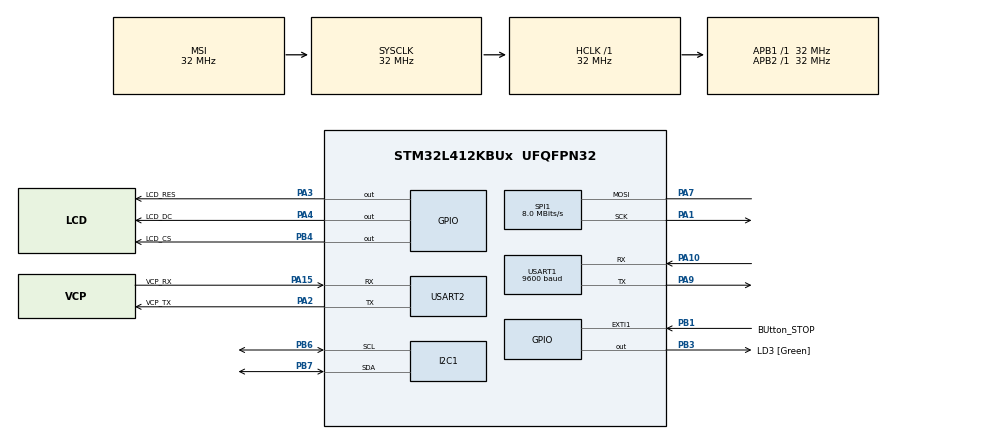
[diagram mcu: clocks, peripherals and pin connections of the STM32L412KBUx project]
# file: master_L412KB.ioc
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I2C1.Timing=0x00B07CB4
Mcu.Family=STM32L4
Mcu.Name=STM32L412KBUx
Mcu.Package=UFQFPN32
NVIC.EXTI1_IRQn=true\:0\:0\:false\:false\:true\:true\:true\:true
NVIC.I2C1_ER_IRQn=true\:1\:0\:true\:false\:true\:true\:true\:true
NVIC.I2C1_EV_IRQn=true\:1\:0\:true\:false\:true\:true\:true\:true
NVIC.PriorityGroup=NVIC_PRIORITYGROUP_4
NVIC.TIM2_IRQn=true\:2\:0\:true\:false\:true\:true\:true\:true
NVIC.USART1_IRQn=true\:3\:0\:true\:false\:true\:true\:true\:true
PA1.Mode=Simplex_Bidirectional_Master
PA1.Signal=SPI1_SCK
PA10.Mode=Asynchronous
PA10.Signal=USART1_RX
PA13\ (JTMS/SWDIO).GPIO_Label=SWDIO
PA13\ (JTMS/SWDIO).Mode=Serial_Wire
PA13\ (JTMS/SWDIO).Signal=SYS_JTMS-SWDIO
PA14\ (JTCK/SWCLK).GPIO_Label=SWCLK
PA14\ (JTCK/SWCLK).Mode=Serial_Wire
PA14\ (JTCK/SWCLK).Signal=SYS_JTCK-SWCLK
PA15\ (JTDI).GPIO_Label=VCP_RX
PA15\ (JTDI).Mode=Asynchronous
PA15\ (JTDI).Signal=USART2_RX
PA2.GPIO_Label=VCP_TX
PA2.Mode=Asynchronous
PA2.Signal=USART2_TX
PA3.GPIO_Label=LCD_RES
PA3.Signal=GPIO_Output
PA4.GPIO_Label=LCD_DC
PA4.Signal=GPIO_Output
PA7.Mode=Simplex_Bidirectional_Master
PA7.Signal=SPI1_MOSI
PA9.Mode=Asynchronous
PA9.Signal=USART1_TX
PB1.GPIO_Label=BUtton_STOP
PB1.GPIO_ModeDefaultEXTI=GPIO_MODE_IT_FALLING
PB1.Signal=GPXTI1
PB3\ (JTDO/TRACESWO).GPIO_Label=LD3 [Green]
PB3\ (JTDO/TRACESWO).Signal=GPIO_Output
PB4\ (NJTRST).GPIO_Label=LCD_CS
PB4\ (NJTRST).Signal=GPIO_Output
PB6.Mode=I2C
PB6.Signal=I2C1_SCL
PB7.Mode=I2C
PB7.Signal=I2C1_SDA
PC14-OSC32_IN\ (PC14).Signal=RCC_OSC32_IN
PC15-OSC32_OUT\ (PC15).Signal=RCC_OSC32_OUT
ProjectManager.HeapSize=0x200
ProjectManager.StackSize=0x400
ProjectManager.TargetToolchain=STM32CubeIDE
RCC.ADCFreq_Value=32000000
RCC.AHBFreq_Value=32000000
RCC.APB1Freq_Value=32000000
RCC.APB1TimFreq_Value=32000000
RCC.APB2Freq_Value=32000000
RCC.APB2TimFreq_Value=32000000
RCC.CortexFreq_Value=32000000
RCC.FLatency=FLASH_LATENCY_1
RCC.HCLKFreq_Value=32000000
RCC.HSE_VALUE=8000000
RCC.HSI48_VALUE=48000000
RCC.HSICalibrationValue=64
RCC.HSI_VALUE=16000000
RCC.LSE_VALUE=32768
RCC.MSIClockRange=RCC_MSIRANGE_10
RCC.MSI_VALUE=32000000
RCC.SYSCLKFreq_VALUE=32000000
RCC.USBFreq_Value=32000000
RCC.VCOOutputFreq_Value=256000000
SPI1.BaudRatePrescaler=SPI_BAUDRATEPRESCALER_4
SPI1.CalculateBaudRate=8.0 MBits/s
SPI1.DataSize=SPI_DATASIZE_8BIT
SPI1.Direction=SPI_DIRECTION_1LINE
SPI1.Mode=SPI_MODE_MASTER
SPI1.VirtualType=VM_MASTER
TIM2.Period=200-1
TIM2.Prescaler=3200-1
USART1.BaudRate=9600
USART1.VirtualMode-Asynchronous=VM_ASYNC
USART2.VirtualMode-Asynchronous=VM_ASYNC
VP_TIM2_VS_ClockSourceINT.Mode=Internal
board=NUCLEO-L412KB

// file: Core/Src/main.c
/* USER CODE BEGIN Header */
/**
 ******************************************************************************
 * @file           : main.c
 * @brief          : Main program body
 ******************************************************************************
 * @attention
 *
 * Copyright (c) 2025 STMicroelectronics.
 * All rights reserved.
 *
 * This software is licensed under terms that can be found in the LICENSE file
 * in the root directory of this software component.
 * If no LICENSE file comes with this software, it is provided AS-IS.
 *
 ******************************************************************************
 */
/* USER CODE END Header */
#include "main.h"

/* USER CODE BEGIN Includes */
#include <math.h>
#include <stdio.h>
#include <stdlib.h>
#include "lcd.h"

/* USER CODE END Includes */

I2C_HandleTypeDef hi2c1;

SPI_HandleTypeDef hspi1;

TIM_HandleTypeDef htim2;

UART_HandleTypeDef huart1;
UART_HandleTypeDef huart2;

/* USER CODE BEGIN PV */
// MPU-6050 I2C 주소
#define MPU6050_ADDR 0xD0 // 0x68 << 1

// MPU-6050 내부 레지스터 주소
#define PWR_MGMT_1_REG 0x6B
#define ACCEL_XOUT_H_REG 0x3B

// I2C 핸들러
extern I2C_HandleTypeDef hi2c1;

// 센서 raw 데이터 저장 변수
int16_t Accel_X_RAW, Accel_Y_RAW, Accel_Z_RAW;
int16_t Gyro_X_RAW, Gyro_Y_RAW, Gyro_Z_RAW;

// 계산된 각도 저장 변수
float Ax, Ay, Az, Gx, Gy, Gz;
float roll, pitch;
float result_roll, result_pitch;

// 시간 측정 변수
uint32_t last_time;
float dt = 0.0;

uint8_t Rec_Data[14]; // 레지스터에서 데이터 저장 (IMU)

volatile uint8_t i2c_flag;

//메세지 받기
#define PACKET_SIZE 6
// 파서의 상태를 나타내는 열거형
typedef enum {
	STATE_WAIT_SOP, STATE_RECEIVE_DATA
} ParserState_t;

// 파서의 현재 상태를 저장하는 변수
ParserState_t g_parser_state = STATE_WAIT_SOP;
// 수신된 패킷 데이터를 임시로 저장할 버퍼
uint8_t g_rx_buffer[PACKET_SIZE];
// 버퍼에 몇 개의 바이트가 쌓였는지 나타내는 인덱스
uint8_t g_rx_buffer_index = 0;
// UART 수신을 위한 1바이트 버퍼
uint8_t g_master_rx_byte = 0;

int forward_dist;
int back_dist;

int last_data_f = 0;
int last_data_b = 0;

//volatile uint8_t lcd_draw_flag = 0;

int forward_dist_display = 0;
int back_dist_display = 0;

uint32_t last_lcd_update_time = 0;

volatile uint8_t stop_button_pressed = 0; // 버튼 정지 상태 플래그 추가

uint8_t tran_data; //master 명령 -> slave

 typedef enum{
	 NORMAL_Display,
	 WARNING_Display
 }DisplayState;

 DisplayState current_display_state = NORMAL_Display;

char lcd_buf[20]; // LCD에 데이터넣을곳
char display_buf[17]; // lcd 공백 맞추기

/* USER CODE END PV */

void SystemClock_Config(void);
static void MX_GPIO_Init(void);
static void MX_USART2_UART_Init(void);
static void MX_I2C1_Init(void);
static void MX_USART1_UART_Init(void);
static void MX_TIM2_Init(void);
static void MX_SPI1_Init(void);

/* USER CODE BEGIN 0 */
#ifdef __GNUC__
#define PUTCHAR_PROTOTYPE int __io_putchar(int ch)
#else
#define PUTCHAR_PROT0TYPE int fputc(int ch, FILE *f)
#endif
PUTCHAR_PROTOTYPE {
	if (ch == '\n')
		HAL_UART_Transmit(&huart2, (uint8_t*) "\r", 1, 0xFFFF);
	HAL_UART_Transmit(&huart2, (uint8_t*) &ch, 1, 0xFFFF);

	return ch;
}

void IMU_Calculate() {

	// 시간 간격(dt) 계산 - 보정에 필요함
	uint32_t current_time = HAL_GetTick();
	dt = (current_time - last_time) / 1000.0f;
	last_time = current_time;

	// --- 1. 센서 데이터 읽기 ---
	// 가속도(3축), 온도, 자이로(3축) 데이터를 한 번에 14바이트 읽어옴
	HAL_I2C_Mem_Read(&hi2c1, MPU6050_ADDR, ACCEL_XOUT_H_REG, 1, Rec_Data, 14,
			100);

	/**  16비트 데이터로 변환
	 * i2c는 8bit 밖에 전송을 못함 그래서 상위 8bit 하위 8bit 쪼개서 보냄  이데이터를 합치는 과정
	 * rec_data[0] 상위 8bit [15:8] / rec_data[1] 하위[7:0] bit
	 * 상위비트 쉬프트 연산으로 8칸 이동시킴 ex) 1011 -> << 8(스프트 8) 101101000
	 * 하위 8bit ex) 00001100   둘이 or 연산
	 * 10110100 00000000 | 0000000 00001100  => 10110100 00001100 원래 16bit 복원
	 */
	Accel_X_RAW = (int16_t) (Rec_Data[0] << 8 | Rec_Data[1]);
	Accel_Y_RAW = (int16_t) (Rec_Data[2] << 8 | Rec_Data[3]);
	Accel_Z_RAW = (int16_t) (Rec_Data[4] << 8 | Rec_Data[5]);
	Gyro_X_RAW = (int16_t) (Rec_Data[8] << 8 | Rec_Data[9]);
	Gyro_Y_RAW = (int16_t) (Rec_Data[10] << 8 | Rec_Data[11]);
	Gyro_Z_RAW = (int16_t) (Rec_Data[12] << 8 | Rec_Data[13]);

	// --- 2. 가속도 센서로 Roll, Pitch 각도 계산 ---
	// raw 데이터를 실제 물리량으로 변환 (옵션, 여기서는 단순 계산)
	Ax = Accel_X_RAW / 16384.0f;
	Ay = Accel_Y_RAW / 16384.0f;
	Az = Accel_Z_RAW / 16384.0f;

	// atan2 함수를 이용해 각도 계산 (라디안 -> 각도 변환)
	roll = atan2(Ay, Az) * 180.0f / M_PI;
	pitch = atan2(-Ax, sqrt(Ay * Ay + Az * Az)) * 180.0f / M_PI;

	// --- 3. 자이로 센서 값으로 각도 변화량 계산 ---
	// raw 데이터를 각속도(degree/s)로 변환
	//Gx = Gyro_X_RAW / 131.0f;
	//Gy = Gyro_Y_RAW / 131.0f;
	//Gz = Gyro_Z_RAW / 131.0f;

	Gx = Gyro_X_RAW / 32.8f;
	Gy = Gyro_Y_RAW / 32.8f;
	Gz = Gyro_Z_RAW / 32.8f;
	// --- 4. 상보 필터 적용 ---
	// 자이로 값으로 각도를 적분하고, 가속도 값으로 보정
	//result_roll = 0.98 * (result_roll + Gx * dt) + 0.02 * roll;
	//result_pitch = 0.98 * (result_pitch + Gy * dt) + 0.02 * pitch;

	result_roll = 0.9 * (result_roll + Gx * dt) + 0.1 * roll; // 0.98 자이로스코프(각속도)  0.02 엑셀로미터(가속도) - 상보 필터 기본 디폴트 98 * 2 근데 바꿈 90% * 1%
	result_pitch = 0.9 * (result_pitch + Gy * dt) + 0.1 * pitch;

}

/**
 * @brief 1바이트의 UART 데이터를 받아 패킷을 파싱하는 함수
 * @param rx_data: UART로부터 수신된 1바이트 데이터6
 *
 */
void parse_uart_byte(uint8_t rx_data) {

	switch (g_parser_state) {
	case STATE_WAIT_SOP:
		// 패킷의 시작(SOP)을 기다리다가, SOP(0x02)를 만나면
		if (rx_data == 0x02) {
			// 버퍼를 초기화하고, SOP를 버퍼에 저장
			g_rx_buffer_index = 0;
			g_rx_buffer[g_rx_buffer_index++] = rx_data;
			// 상태를 '데이터 수신 중'으로 변경
			g_parser_state = STATE_RECEIVE_DATA;
		}
		break;

	case STATE_RECEIVE_DATA:
		// 나머지 데이터를 버퍼에 순서대로 저장
		g_rx_buffer[g_rx_buffer_index++] = rx_data;

		// 패킷 사이즈(6바이트)만큼 데이터가 모두 수신되었다면
		if (g_rx_buffer_index >= PACKET_SIZE) {
			// --- 1. 패킷 유효성 검증 ---
			uint8_t sop = g_rx_buffer[0];
			uint8_t cmd = g_rx_buffer[1];
			uint8_t checksum = g_rx_buffer[4];
			uint8_t eop = g_rx_buffer[5];

			// Checksum 계산 (CMD + DATA1 + DATA2)
			uint8_t calculated_checksum = g_rx_buffer[1] + g_rx_buffer[2]
					+ g_rx_buffer[3];

			// SOP, EOP, Checksum이 모두 일치하는 유효한 패킷이라면
			if (sop == 0x02 && eop == 0x03 && checksum == calculated_checksum) {
				// --- 2. 데이터 추출 및 사용 ---
				if (cmd == 'D') { // CMD가 '거리' 데이터가 맞다면
					forward_dist = g_rx_buffer[2];
					back_dist = g_rx_buffer[3];

					// Store data for display and set flag
					forward_dist_display = forward_dist;
					back_dist_display = back_dist;
					//lcd_draw_flag = 1; // Signal new data is ready

					last_data_f = forward_dist;
					last_data_b = back_dist;

					//printf(" %d |  %d \n", 	forward_dist, back_dist);
				}
			}

			// --- 3. 다음 패킷을 받기 위해 상태 초기화 ---
			g_rx_buffer_index = 0;
			g_parser_state = STATE_WAIT_SOP;
		}
		break;
	}
}

void rc_control(void){
	if ((int) result_pitch > 80) {
		tran_data = 'w';
		//LCD_DrawString(10, 75, "Command : FORWARD ", YELLOW, BLACK);
		//sprintf(cmd_buf, "Command: FORWARD ");

	}
	else if ((int) result_pitch < -80) {
		tran_data = 's';
		//LCD_DrawString(10, 75, "Command : BACK   ", YELLOW, BLACK);
		//sprintf(cmd_buf, "Command: LEFT    ");
	}

	else if ((int) result_roll < -70) {
		tran_data = 'a'; // f103 - w
		//LCD_DrawString(10, 75, "Command : LEFT   ", YELLOW, BLACK);
		//sprintf(cmd_buf, "Command: RIGHT   ");

	}
	else if ((int) result_roll > 70) {
		tran_data = 'd';
		//LCD_DrawString(10, 75, "Command : RIGHT   ", YELLOW, BLACK);
		//sprintf(cmd_buf, "Command: RIGHT   ");

	}

	else if ((abs((int) result_roll) < 30) && (abs((int) result_pitch) < 50)) {
		tran_data = 'f';
		//LCD_DrawString(10, 75, "Command : Stop   ", YELLOW, BLACK);
		//sprintf(cmd_buf, "Command: STOP    ");
	}

	//printf("%c : pitch = %d | roll = %d \n",(char)tran_data ,(int) result_pitch,(int) result_roll);

	HAL_UART_Transmit(&huart1, &tran_data, 1, 100);
	//printf("Transmit char: %c, dec: %d\n", tran_data, tran_data);
	//LCD_DrawString(10, 75, cmd_buf, YELLOW, BLACK);

}

void LCD_Display_update(void) {
	DisplayState next_display_state =
			(forward_dist_display < 30 || back_dist_display < 30) ?
					WARNING_Display : NORMAL_Display;

	if (next_display_state != current_display_state) {

		if (next_display_state == WARNING_Display) {
			LCD_Fill(RED);
			LCD_DrawString(20, 60, "!! WARNING !!", YELLOW, RED);
		} else {
			LCD_Fill(BLACK);
			LCD_DrawString(10, 30, "Front Distance", WHITE, BLACK);
			LCD_DrawString(10, 70, "Rear Distance", WHITE, BLACK);

		}
		current_display_state = next_display_state;
	}

	//		  %-16.16s의 의미는 다음과 같습니다.
	//		  - .16 (정밀도): 원본(lcd_buf)에서 최대 16글자까지만 가져온다. (오버플로우 방지)
	//		  - -16 (너비): 위에서 가져온 글자를 16칸에 맞춰 출력하되, 모자라면 나머지를 공백으로 채운다. (잔상 제거)
	if (current_display_state == NORMAL_Display) {
		sprintf(lcd_buf, "=>  %d  cm", forward_dist_display);
		snprintf(display_buf, sizeof(display_buf), "%-16.16s", lcd_buf);
		LCD_DrawString(10, 45, display_buf, YELLOW, BLACK);

		sprintf(lcd_buf, "=>  %d  cm", back_dist_display);
		snprintf(display_buf, sizeof(display_buf), "%-16.16s", lcd_buf);
		LCD_DrawString(10, 85, display_buf, YELLOW, BLACK);

	}
}
void HAL_TIM_PeriodElapsedCallback(TIM_HandleTypeDef *htim) {
	if (htim->Instance == TIM2) {

		uint8_t wake_up_data;

		// MPU-6050이 연결되었는지 확인
		HAL_I2C_IsDeviceReady(&hi2c1, MPU6050_ADDR, 1, 100);

		// MPU-6050을 Sleep 모드에서 깨우기
		wake_up_data = 0;
		HAL_I2C_Mem_Write(&hi2c1, MPU6050_ADDR, PWR_MGMT_1_REG, 1, &wake_up_data, 1, 100);

		HAL_I2C_Mem_Read_IT(&hi2c1, MPU6050_ADDR, ACCEL_XOUT_H_REG, 1, Rec_Data, 14);
	}

}
void HAL_I2C_MemRxCpltCallback(I2C_HandleTypeDef *hi2c) {
	if (hi2c->Instance == I2C1) {
		i2c_flag = 1;
		//printf("i2c ok\n");
	}
}

void HAL_UART_RxCpltCallback(UART_HandleTypeDef *huart) {
	// Master가 사용하는 UART 포트 (예: USART2)인지 확인
	if (huart->Instance == USART1) {
		// 수신된 1바이트를 파서 함수로 넘겨줌
		parse_uart_byte(g_master_rx_byte);
		// 다음 1바이트 수신을 위해 인터럽트 다시 활성화
		HAL_UART_Receive_IT(huart, &g_master_rx_byte, 1);
	}
}

void HAL_GPIO_EXTI_Callback(uint16_t GPIO_Pin) {

	if (GPIO_Pin == BUtton_STOP_Pin) {
		static uint32_t temp_time = 0;
		if (HAL_GetTick() - temp_time > 200) {
			stop_button_pressed = !stop_button_pressed; // 플래그 상태 반전 (토글)
			tran_data = 'f';

			temp_time = HAL_GetTick();

		}
	}

}
/* USER CODE END 0 */

int main(void)
{

  /* MCU Configuration--------------------------------------------------------*/

  /* Reset of all peripherals, Initializes the Flash interface and the Systick. */
  HAL_Init();

  /* Configure the system clock */
  SystemClock_Config();

  /* Initialize all configured peripherals */
  MX_GPIO_Init();
  MX_USART2_UART_Init();
  MX_I2C1_Init();
  MX_USART1_UART_Init();
  MX_TIM2_Init();
  MX_SPI1_Init();
  /* USER CODE BEGIN 2 */

	uint8_t wake_up_data;

	// MPU-6050이 연결되었는지 확인
	HAL_I2C_IsDeviceReady(&hi2c1, MPU6050_ADDR, 1, 100);

	// MPU-6050을 Sleep 모드에서 깨우기
	wake_up_data = 0;
	HAL_I2C_Mem_Write(&hi2c1, MPU6050_ADDR, PWR_MGMT_1_REG, 1, &wake_up_data, 1,
			100);

	uint8_t gyro_config = 0x10; // FS_SEL = 2 // 민감도 바꾸는거   Register 27(0x1B) – Gyroscope Configuration
	HAL_I2C_Mem_Write(&hi2c1, MPU6050_ADDR, 0x1B, 1, &gyro_config, 1, 100);

	last_time = HAL_GetTick(); // 초기 시간 설정

	HAL_TIM_Base_Start_IT(&htim2);

	HAL_UART_Receive_IT(&huart1, &g_master_rx_byte, 1);

	LCD_Init();      // LCD 하드웨어 초기화
	LCD_Fill(BLACK); // LCD 화면을 검은색으로 채우기  - lcd 색상 default가 반전임

  /* USER CODE END 2 */

  /* Infinite loop */
  /* USER CODE BEGIN WHILE */
	while (1) {

		/** 플래그 이용해서 버튼눌리면 IMU 무시하고 STOP
		 * 논블로킹 슈퍼루프 방식으로 구현
		 */
		if (stop_button_pressed == 1) {
			// 정지 버튼이 눌렸으면 IMU 제어를 무시하고 'f' 명령을 계속 전송
			tran_data = 'f';
			HAL_UART_Transmit(&huart1, &tran_data, 1, 100);
		} else {
			// 정지 버튼이 눌리지 않았으면 정상적인 IMU 기반 제어
			if (i2c_flag == 1) {
				i2c_flag = 0;

				IMU_Calculate(); // imu 계산
				rc_control(); // slave한데 블루투스로 rc카 제어 신호보내주는 함수

			}
		}

		if (HAL_GetTick() - last_lcd_update_time > 1000) { // 100ms = 0.1s

			LCD_Display_update(); // lcd_updatae 함수

			last_lcd_update_time = HAL_GetTick();
		}
		HAL_Delay(10);

    /* USER CODE END WHILE */

	}
}

void SystemClock_Config(void)
{
  RCC_OscInitTypeDef RCC_OscInitStruct = {0};
  RCC_ClkInitTypeDef RCC_ClkInitStruct = {0};

  /** Configure the main internal regulator output voltage
  */
  if (HAL_PWREx_ControlVoltageScaling(PWR_REGULATOR_VOLTAGE_SCALE1) != HAL_OK)
  {
    Error_Handler();
  }

  /** Initializes the RCC Oscillators according to the specified parameters
  * in the RCC_OscInitTypeDef structure.
  */
  RCC_OscInitStruct.OscillatorType = RCC_OSCILLATORTYPE_MSI;
  RCC_OscInitStruct.MSIState = RCC_MSI_ON;
  RCC_OscInitStruct.MSICalibrationValue = 0;
  RCC_OscInitStruct.MSIClockRange = RCC_MSIRANGE_10;
  RCC_OscInitStruct.PLL.PLLState = RCC_PLL_NONE;
  if (HAL_RCC_OscConfig(&RCC_OscInitStruct) != HAL_OK)
  {
    Error_Handler();
  }

  /** Initializes the CPU, AHB and APB buses clocks
  */
  RCC_ClkInitStruct.ClockType = RCC_CLOCKTYPE_HCLK|RCC_CLOCKTYPE_SYSCLK
                              |RCC_CLOCKTYPE_PCLK1|RCC_CLOCKTYPE_PCLK2;
  RCC_ClkInitStruct.SYSCLKSource = RCC_SYSCLKSOURCE_MSI;
  RCC_ClkInitStruct.AHBCLKDivider = RCC_SYSCLK_DIV1;
  RCC_ClkInitStruct.APB1CLKDivider = RCC_HCLK_DIV1;
  RCC_ClkInitStruct.APB2CLKDivider = RCC_HCLK_DIV1;

  if (HAL_RCC_ClockConfig(&RCC_ClkInitStruct, FLASH_LATENCY_1) != HAL_OK)
  {
    Error_Handler();
  }
}

static void MX_I2C1_Init(void)
{

  hi2c1.Instance = I2C1;
  hi2c1.Init.Timing = 0x00B07CB4;
  hi2c1.Init.OwnAddress1 = 0;
  hi2c1.Init.AddressingMode = I2C_ADDRESSINGMODE_7BIT;
  hi2c1.Init.DualAddressMode = I2C_DUALADDRESS_DISABLE;
  hi2c1.Init.OwnAddress2 = 0;
  hi2c1.Init.OwnAddress2Masks = I2C_OA2_NOMASK;
  hi2c1.Init.GeneralCallMode = I2C_GENERALCALL_DISABLE;
  hi2c1.Init.NoStretchMode = I2C_NOSTRETCH_DISABLE;
  if (HAL_I2C_Init(&hi2c1) != HAL_OK)
  {
    Error_Handler();
  }

  /** Configure Analogue filter
  */
  if (HAL_I2CEx_ConfigAnalogFilter(&hi2c1, I2C_ANALOGFILTER_ENABLE) != HAL_OK)
  {
    Error_Handler();
  }

  /** Configure Digital filter
  */
  if (HAL_I2CEx_ConfigDigitalFilter(&hi2c1, 0) != HAL_OK)
  {
    Error_Handler();
  }

}

static void MX_SPI1_Init(void)
{

  /* SPI1 parameter configuration*/
  hspi1.Instance = SPI1;
  hspi1.Init.Mode = SPI_MODE_MASTER;
  hspi1.Init.Direction = SPI_DIRECTION_1LINE;
  hspi1.Init.DataSize = SPI_DATASIZE_8BIT;
  hspi1.Init.CLKPolarity = SPI_POLARITY_LOW;
  hspi1.Init.CLKPhase = SPI_PHASE_1EDGE;
  hspi1.Init.NSS = SPI_NSS_SOFT;
  hspi1.Init.BaudRatePrescaler = SPI_BAUDRATEPRESCALER_4;
  hspi1.Init.FirstBit = SPI_FIRSTBIT_MSB;
  hspi1.Init.TIMode = SPI_TIMODE_DISABLE;
  hspi1.Init.CRCCalculation = SPI_CRCCALCULATION_DISABLE;
  hspi1.Init.CRCPolynomial = 7;
  hspi1.Init.CRCLength = SPI_CRC_LENGTH_DATASIZE;
  hspi1.Init.NSSPMode = SPI_NSS_PULSE_ENABLE;
  if (HAL_SPI_Init(&hspi1) != HAL_OK)
  {
    Error_Handler();
  }

}

static void MX_TIM2_Init(void)
{

  TIM_ClockConfigTypeDef sClockSourceConfig = {0};
  TIM_MasterConfigTypeDef sMasterConfig = {0};

  htim2.Instance = TIM2;
  htim2.Init.Prescaler = 3200-1;
  htim2.Init.CounterMode = TIM_COUNTERMODE_UP;
  htim2.Init.Period = 200-1;
  htim2.Init.ClockDivision = TIM_CLOCKDIVISION_DIV1;
  htim2.Init.AutoReloadPreload = TIM_AUTORELOAD_PRELOAD_DISABLE;
  if (HAL_TIM_Base_Init(&htim2) != HAL_OK)
  {
    Error_Handler();
  }
  sClockSourceConfig.ClockSource = TIM_CLOCKSOURCE_INTERNAL;
  if (HAL_TIM_ConfigClockSource(&htim2, &sClockSourceConfig) != HAL_OK)
  {
    Error_Handler();
  }
  sMasterConfig.MasterOutputTrigger = TIM_TRGO_RESET;
  sMasterConfig.MasterSlaveMode = TIM_MASTERSLAVEMODE_DISABLE;
  if (HAL_TIMEx_MasterConfigSynchronization(&htim2, &sMasterConfig) != HAL_OK)
  {
    Error_Handler();
  }

}

static void MX_USART1_UART_Init(void)
{

  huart1.Instance = USART1;
  huart1.Init.BaudRate = 9600;
  huart1.Init.WordLength = UART_WORDLENGTH_8B;
  huart1.Init.StopBits = UART_STOPBITS_1;
  huart1.Init.Parity = UART_PARITY_NONE;
  huart1.Init.Mode = UART_MODE_TX_RX;
  huart1.Init.HwFlowCtl = UART_HWCONTROL_NONE;
  huart1.Init.OverSampling = UART_OVERSAMPLING_16;
  huart1.Init.OneBitSampling = UART_ONE_BIT_SAMPLE_DISABLE;
  huart1.AdvancedInit.AdvFeatureInit = UART_ADVFEATURE_NO_INIT;
  if (HAL_UART_Init(&huart1) != HAL_OK)
  {
    Error_Handler();
  }

}

static void MX_USART2_UART_Init(void)
{

  huart2.Instance = USART2;
  huart2.Init.BaudRate = 115200;
  huart2.Init.WordLength = UART_WORDLENGTH_8B;
  huart2.Init.StopBits = UART_STOPBITS_1;
  huart2.Init.Parity = UART_PARITY_NONE;
  huart2.Init.Mode = UART_MODE_TX_RX;
  huart2.Init.HwFlowCtl = UART_HWCONTROL_NONE;
  huart2.Init.OverSampling = UART_OVERSAMPLING_16;
  huart2.Init.OneBitSampling = UART_ONE_BIT_SAMPLE_DISABLE;
  huart2.AdvancedInit.AdvFeatureInit = UART_ADVFEATURE_NO_INIT;
  if (HAL_UART_Init(&huart2) != HAL_OK)
  {
    Error_Handler();
  }

}

static void MX_GPIO_Init(void)
{
  GPIO_InitTypeDef GPIO_InitStruct = {0};

  /* GPIO Ports Clock Enable */
  __HAL_RCC_GPIOC_CLK_ENABLE();
  __HAL_RCC_GPIOA_CLK_ENABLE();
  __HAL_RCC_GPIOB_CLK_ENABLE();

  /*Configure GPIO pin Output Level */
  HAL_GPIO_WritePin(GPIOA, LCD_RES_Pin|LCD_DC_Pin, GPIO_PIN_RESET);

  /*Configure GPIO pin Output Level */
  HAL_GPIO_WritePin(GPIOB, LD3_Pin|LCD_CS_Pin, GPIO_PIN_RESET);

  /*Configure GPIO pins : LCD_RES_Pin LCD_DC_Pin */
  GPIO_InitStruct.Pin = LCD_RES_Pin|LCD_DC_Pin;
  GPIO_InitStruct.Mode = GPIO_MODE_OUTPUT_PP;
  GPIO_InitStruct.Pull = GPIO_NOPULL;
  GPIO_InitStruct.Speed = GPIO_SPEED_FREQ_LOW;
  HAL_GPIO_Init(GPIOA, &GPIO_InitStruct);

  /*Configure GPIO pin : BUtton_STOP_Pin */
  GPIO_InitStruct.Pin = BUtton_STOP_Pin;
  GPIO_InitStruct.Mode = GPIO_MODE_IT_FALLING;
  GPIO_InitStruct.Pull = GPIO_NOPULL;
  HAL_GPIO_Init(BUtton_STOP_GPIO_Port, &GPIO_InitStruct);

  /*Configure GPIO pins : LD3_Pin LCD_CS_Pin */
  GPIO_InitStruct.Pin = LD3_Pin|LCD_CS_Pin;
  GPIO_InitStruct.Mode = GPIO_MODE_OUTPUT_PP;
  GPIO_InitStruct.Pull = GPIO_NOPULL;
  GPIO_InitStruct.Speed = GPIO_SPEED_FREQ_LOW;
  HAL_GPIO_Init(GPIOB, &GPIO_InitStruct);

  /* EXTI interrupt init*/
  HAL_NVIC_SetPriority(EXTI1_IRQn, 0, 0);
  HAL_NVIC_EnableIRQ(EXTI1_IRQn);

}

void Error_Handler(void)
{
	__disable_irq();
	while (1) {
	}
}
